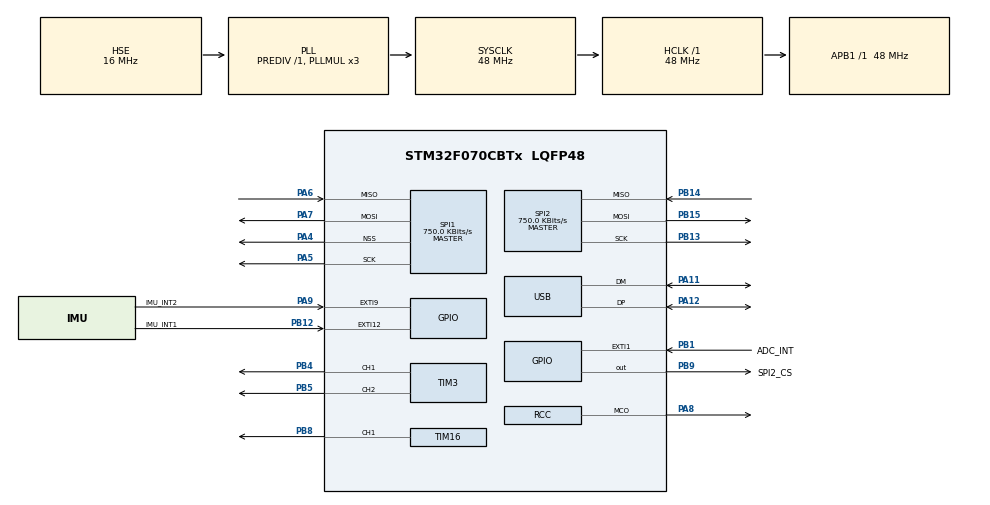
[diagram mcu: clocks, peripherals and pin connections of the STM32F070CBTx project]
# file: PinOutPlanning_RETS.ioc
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Mcu.Family=STM32F0
Mcu.Name=STM32F070CBTx
Mcu.Package=LQFP48
NVIC.EXTI0_1_IRQn=true\:0\:0\:false\:false\:true\:true\:true\:true
NVIC.EXTI4_15_IRQn=true\:0\:0\:false\:false\:true\:true\:true\:true
NVIC.USB_IRQn=true\:0\:0\:false\:false\:true\:false\:true\:true
PA11.Mode=Device
PA11.Signal=USB_DM
PA12.Mode=Device
PA12.Signal=USB_DP
PA13.Mode=Serial_Wire
PA13.Signal=SYS_SWDIO
PA14.Mode=Serial_Wire
PA14.Signal=SYS_SWCLK
PA4.Mode=NSS_Signal_Hard_Output
PA4.Signal=SPI1_NSS
PA5.Mode=Full_Duplex_Master
PA5.Signal=SPI1_SCK
PA6.Mode=Full_Duplex_Master
PA6.Signal=SPI1_MISO
PA7.Mode=Full_Duplex_Master
PA7.Signal=SPI1_MOSI
PA8.Mode=Clock-out
PA8.Signal=RCC_MCO
PA9.GPIO_Label=IMU_INT2
PA9.Signal=GPXTI9
PB1.GPIO_Label=ADC_INT
PB1.Signal=GPXTI1
PB12.GPIO_Label=IMU_INT1
PB12.Signal=GPXTI12
PB13.Mode=Full_Duplex_Master
PB13.Signal=SPI2_SCK
PB14.Mode=Full_Duplex_Master
PB14.Signal=SPI2_MISO
PB15.Mode=Full_Duplex_Master
PB15.Signal=SPI2_MOSI
PB4.Signal=S_TIM3_CH1
PB5.Signal=S_TIM3_CH2
PB8.Signal=S_TIM16_CH1
PB9.GPIO_Label=SPI2_CS
PB9.Signal=GPIO_Output
PF0-OSC_IN.Mode=HSE-External-Oscillator
PF0-OSC_IN.Signal=RCC_OSC_IN
PF1-OSC_OUT.Mode=HSE-External-Oscillator
PF1-OSC_OUT.Signal=RCC_OSC_OUT
ProjectManager.HeapSize=0x200
ProjectManager.StackSize=0x400
ProjectManager.TargetToolchain=STM32CubeIDE
RCC.AHBFreq_Value=48000000
RCC.APB1Freq_Value=48000000
RCC.APB1TimFreq_Value=48000000
RCC.HCLKFreq_Value=48000000
RCC.HSE_VALUE=16000000
RCC.PLLMUL=RCC_PLL_MUL3
RCC.RCC_MCODiv=RCC_MCODIV_2
RCC.RCC_MCOSource=RCC_MCO1SOURCE_HSE
RCC.SYSCLKFreq_VALUE=48000000
RCC.SYSCLKSource=RCC_SYSCLKSOURCE_PLLCLK
SH.S_TIM16_CH1.0=TIM16_CH1,PWM Generation1 CH1
SH.S_TIM3_CH1.0=TIM3_CH1,PWM Generation1 CH1
SH.S_TIM3_CH2.0=TIM3_CH2,PWM Generation2 CH2
SPI1.BaudRatePrescaler=SPI_BAUDRATEPRESCALER_64
SPI1.CLKPhase=SPI_PHASE_2EDGE
SPI1.CLKPolarity=SPI_POLARITY_LOW
SPI1.CalculateBaudRate=750.0 KBits/s
SPI1.DataSize=SPI_DATASIZE_8BIT
SPI1.Direction=SPI_DIRECTION_2LINES
SPI1.Mode=SPI_MODE_MASTER
SPI1.TIMode=SPI_TIMODE_DISABLE
SPI1.VirtualNSS=VM_NSSHARD
SPI1.VirtualType=VM_MASTER
SPI2.BaudRatePrescaler=SPI_BAUDRATEPRESCALER_64
SPI2.CalculateBaudRate=750.0 KBits/s
SPI2.DataSize=SPI_DATASIZE_8BIT
SPI2.Direction=SPI_DIRECTION_2LINES
SPI2.Mode=SPI_MODE_MASTER
SPI2.NSSPMode=SPI_NSS_PULSE_DISABLE
SPI2.VirtualType=VM_MASTER
TIM16.Channel=TIM_CHANNEL_1
TIM3.Channel-PWM\ Generation1\ CH1=TIM_CHANNEL_1
TIM3.Channel-PWM\ Generation2\ CH2=TIM_CHANNEL_2
USB.lpm_enable=DISABLE
USB_DEVICE.CLASS_NAME_FS=CDC
USB_DEVICE.VirtualMode=Cdc
USB_DEVICE.VirtualModeFS=Cdc_FS
VP_TIM16_VS_ClockSourceINT.Mode=Enable_Timer
VP_USB_DEVICE_VS_USB_DEVICE_CDC_FS.Mode=CDC_FS
board=custom

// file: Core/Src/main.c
/* USER CODE BEGIN Header */
/**
  ******************************************************************************
  * @file           : main.c
  * @brief          : Main program body
  ******************************************************************************
  * @attention
  *
  * Copyright (c) 2023 STMicroelectronics.
  * All rights reserved.
  *
  * This software is licensed under terms that can be found in the LICENSE file
  * in the root directory of this software component.
  * If no LICENSE file comes with this software, it is provided AS-IS.
  *
  ******************************************************************************
  */
/* USER CODE END Header */
#include <stdio.h>
#include <stdarg.h>
#include "main.h"
#include "usb_device.h"

/* USER CODE BEGIN Includes */
#include "user_define.h"
#include "usbd_cdc_if.h"
#include "bmi323.h"
#include "ads131m02.h"
/* USER CODE END Includes */

SPI_HandleTypeDef hspi1;
SPI_HandleTypeDef hspi2;

TIM_HandleTypeDef htim3;
TIM_HandleTypeDef htim16;

void SystemClock_Config(void);
static void MX_GPIO_Init(void);
static void MX_SPI1_Init(void);
static void MX_SPI2_Init(void);
static void MX_TIM3_Init(void);
static void MX_TIM16_Init(void);
/* USER CODE BEGIN PFP */
static void CDC_TX_Buffer_Init(void);
/* USER CODE END PFP */

int main(void)
{

	/* MCU Configuration--------------------------------------------------------*/

	/* Reset of all peripherals, Initializes the Flash interface and the Systick. */
	HAL_Init();

	/* Configure the system clock */
	SystemClock_Config();

	/* Initialize all configured peripherals */
	MX_GPIO_Init();
	MX_SPI1_Init();
	MX_SPI2_Init();
	MX_TIM3_Init();
	MX_TIM16_Init();
	MX_USB_DEVICE_Init();
	/* USER CODE BEGIN 2 */
	CDC_TX_Buffer_Init(); // Put this in USER CODE BEGIN Init ? TODO TODO TODO

	HAL_Delay(1000);

	Init_BMI323();
	ADS131M02_echocore_init();

	HAL_Delay(1000);

	PDEBUG("Enabling interrupts...\r\n");
	HAL_NVIC_SetPriority(ADC_INT_EXTI_IRQn, 1, 0);
  	HAL_NVIC_EnableIRQ(ADC_INT_EXTI_IRQn);

	TIM3->CCR1 = 0;
	TIM3->CCR2 = 0;
	TIM16->CCR1 = 0;
	//HAL_TIM_PWM_Start(&htim3, TIM_CHANNEL_1);
	HAL_TIM_PWM_Start(&htim3, TIM_CHANNEL_2);

	PDEBUG("Beginning task loop...\r\n");

	/* USER CODE END 2 */

	/* Infinite loop */
	while (1)
	{

		/* USER CODE BEGIN 3 */

		/* Check for received data and interpret */
		if(cdc_int_flag)
		{
			// Interpret UserRxBufferFS based on RX data format

			/* DEBUG */
			PDEBUG("Printing all registers of IMU...\r\n");
			BMI323_Print_ALLRegs();

			/* Reset CDC RX interrupt flag */
			cdc_int_flag = 0;
		}

		/* Update ADC Values */
		ADS131M02_task();

		/* Update IMU Values */
		BMI323Task();

		/* Transmit new packet */
		CDC_Transmit_FS(UserTxBufferFS, APP_TX_DATA_SIZE);
		//HAL_Delay(10000);

		/* Control RGB LEDs based on IMU acceleration */
		// Can use data from UserTxBuffer for this (probably should use mutex tho in case of interrupts)
		// LEDTask();

		/* Testing */
		//CDC_Transmit_FS(UserTxBufferFS, APP_TX_DATA_SIZE);
		//HAL_Delay(10000);
		///uint8_t hi_msg[] = "hello\r\n";
		//CDC_Transmit_FS(hi_msg, sizeof(hi_msg));
		//HAL_Delay(500);
	}
	/* USER CODE END 3 */
}

void SystemClock_Config(void)
{
  RCC_OscInitTypeDef RCC_OscInitStruct = {0};
  RCC_ClkInitTypeDef RCC_ClkInitStruct = {0};
  RCC_PeriphCLKInitTypeDef PeriphClkInit = {0};

  /** Initializes the RCC Oscillators according to the specified parameters
  * in the RCC_OscInitTypeDef structure.
  */
  RCC_OscInitStruct.OscillatorType = RCC_OSCILLATORTYPE_HSE;
  RCC_OscInitStruct.HSEState = RCC_HSE_ON;
  RCC_OscInitStruct.PLL.PLLState = RCC_PLL_ON;
  RCC_OscInitStruct.PLL.PLLSource = RCC_PLLSOURCE_HSE;
  RCC_OscInitStruct.PLL.PLLMUL = RCC_PLL_MUL3;
  RCC_OscInitStruct.PLL.PREDIV = RCC_PREDIV_DIV1;
  if (HAL_RCC_OscConfig(&RCC_OscInitStruct) != HAL_OK)
  {
    Error_Handler();
  }

  /** Initializes the CPU, AHB and APB buses clocks
  */
  RCC_ClkInitStruct.ClockType = RCC_CLOCKTYPE_HCLK|RCC_CLOCKTYPE_SYSCLK
                              |RCC_CLOCKTYPE_PCLK1;
  RCC_ClkInitStruct.SYSCLKSource = RCC_SYSCLKSOURCE_PLLCLK;
  RCC_ClkInitStruct.AHBCLKDivider = RCC_SYSCLK_DIV1;
  RCC_ClkInitStruct.APB1CLKDivider = RCC_HCLK_DIV1;

  if (HAL_RCC_ClockConfig(&RCC_ClkInitStruct, FLASH_LATENCY_1) != HAL_OK)
  {
    Error_Handler();
  }
  PeriphClkInit.PeriphClockSelection = RCC_PERIPHCLK_USB;
  PeriphClkInit.UsbClockSelection = RCC_USBCLKSOURCE_PLL;

  if (HAL_RCCEx_PeriphCLKConfig(&PeriphClkInit) != HAL_OK)
  {
    Error_Handler();
  }
  HAL_RCC_MCOConfig(RCC_MCO, RCC_MCO1SOURCE_HSE, RCC_MCODIV_2);
}

static void MX_SPI1_Init(void)
{

  /* SPI1 parameter configuration*/
  hspi1.Instance = SPI1;
  hspi1.Init.Mode = SPI_MODE_MASTER;
  hspi1.Init.Direction = SPI_DIRECTION_2LINES;
  hspi1.Init.DataSize = SPI_DATASIZE_8BIT;
  hspi1.Init.CLKPolarity = SPI_POLARITY_LOW;
  hspi1.Init.CLKPhase = SPI_PHASE_2EDGE;
  hspi1.Init.NSS = SPI_NSS_HARD_OUTPUT;
  hspi1.Init.BaudRatePrescaler = SPI_BAUDRATEPRESCALER_64;
  hspi1.Init.FirstBit = SPI_FIRSTBIT_MSB;
  hspi1.Init.TIMode = SPI_TIMODE_DISABLE;
  hspi1.Init.CRCCalculation = SPI_CRCCALCULATION_DISABLE;
  hspi1.Init.CRCPolynomial = 7;
  hspi1.Init.CRCLength = SPI_CRC_LENGTH_DATASIZE;
  hspi1.Init.NSSPMode = SPI_NSS_PULSE_DISABLE;
  if (HAL_SPI_Init(&hspi1) != HAL_OK)
  {
    Error_Handler();
  }

}

static void MX_SPI2_Init(void)
{

  /* SPI2 parameter configuration*/
  hspi2.Instance = SPI2;
  hspi2.Init.Mode = SPI_MODE_MASTER;
  hspi2.Init.Direction = SPI_DIRECTION_2LINES;
  hspi2.Init.DataSize = SPI_DATASIZE_8BIT;
  hspi2.Init.CLKPolarity = SPI_POLARITY_LOW;
  hspi2.Init.CLKPhase = SPI_PHASE_1EDGE;
  hspi2.Init.NSS = SPI_NSS_SOFT;
  hspi2.Init.BaudRatePrescaler = SPI_BAUDRATEPRESCALER_64;
  hspi2.Init.FirstBit = SPI_FIRSTBIT_MSB;
  hspi2.Init.TIMode = SPI_TIMODE_DISABLE;
  hspi2.Init.CRCCalculation = SPI_CRCCALCULATION_DISABLE;
  hspi2.Init.CRCPolynomial = 7;
  hspi2.Init.CRCLength = SPI_CRC_LENGTH_DATASIZE;
  hspi2.Init.NSSPMode = SPI_NSS_PULSE_DISABLE;
  if (HAL_SPI_Init(&hspi2) != HAL_OK)
  {
    Error_Handler();
  }

}

static void MX_TIM3_Init(void)
{

  TIM_MasterConfigTypeDef sMasterConfig = {0};
  TIM_OC_InitTypeDef sConfigOC = {0};

  htim3.Instance = TIM3;
  htim3.Init.Prescaler = 0;
  htim3.Init.CounterMode = TIM_COUNTERMODE_UP;
  htim3.Init.Period = 65535;
  htim3.Init.ClockDivision = TIM_CLOCKDIVISION_DIV1;
  htim3.Init.AutoReloadPreload = TIM_AUTORELOAD_PRELOAD_DISABLE;
  if (HAL_TIM_PWM_Init(&htim3) != HAL_OK)
  {
    Error_Handler();
  }
  sMasterConfig.MasterOutputTrigger = TIM_TRGO_RESET;
  sMasterConfig.MasterSlaveMode = TIM_MASTERSLAVEMODE_DISABLE;
  if (HAL_TIMEx_MasterConfigSynchronization(&htim3, &sMasterConfig) != HAL_OK)
  {
    Error_Handler();
  }
  sConfigOC.OCMode = TIM_OCMODE_PWM1;
  sConfigOC.Pulse = 0;
  sConfigOC.OCPolarity = TIM_OCPOLARITY_HIGH;
  sConfigOC.OCFastMode = TIM_OCFAST_DISABLE;
  if (HAL_TIM_PWM_ConfigChannel(&htim3, &sConfigOC, TIM_CHANNEL_1) != HAL_OK)
  {
    Error_Handler();
  }
  if (HAL_TIM_PWM_ConfigChannel(&htim3, &sConfigOC, TIM_CHANNEL_2) != HAL_OK)
  {
    Error_Handler();
  }
  HAL_TIM_MspPostInit(&htim3);

}

static void MX_TIM16_Init(void)
{

  TIM_OC_InitTypeDef sConfigOC = {0};
  TIM_BreakDeadTimeConfigTypeDef sBreakDeadTimeConfig = {0};

  htim16.Instance = TIM16;
  htim16.Init.Prescaler = 0;
  htim16.Init.CounterMode = TIM_COUNTERMODE_UP;
  htim16.Init.Period = 65535;
  htim16.Init.ClockDivision = TIM_CLOCKDIVISION_DIV1;
  htim16.Init.RepetitionCounter = 0;
  htim16.Init.AutoReloadPreload = TIM_AUTORELOAD_PRELOAD_DISABLE;
  if (HAL_TIM_Base_Init(&htim16) != HAL_OK)
  {
    Error_Handler();
  }
  if (HAL_TIM_PWM_Init(&htim16) != HAL_OK)
  {
    Error_Handler();
  }
  sConfigOC.OCMode = TIM_OCMODE_PWM1;
  sConfigOC.Pulse = 0;
  sConfigOC.OCPolarity = TIM_OCPOLARITY_HIGH;
  sConfigOC.OCNPolarity = TIM_OCNPOLARITY_HIGH;
  sConfigOC.OCFastMode = TIM_OCFAST_DISABLE;
  sConfigOC.OCIdleState = TIM_OCIDLESTATE_RESET;
  sConfigOC.OCNIdleState = TIM_OCNIDLESTATE_RESET;
  if (HAL_TIM_PWM_ConfigChannel(&htim16, &sConfigOC, TIM_CHANNEL_1) != HAL_OK)
  {
    Error_Handler();
  }
  sBreakDeadTimeConfig.OffStateRunMode = TIM_OSSR_DISABLE;
  sBreakDeadTimeConfig.OffStateIDLEMode = TIM_OSSI_DISABLE;
  sBreakDeadTimeConfig.LockLevel = TIM_LOCKLEVEL_OFF;
  sBreakDeadTimeConfig.DeadTime = 0;
  sBreakDeadTimeConfig.BreakState = TIM_BREAK_DISABLE;
  sBreakDeadTimeConfig.BreakPolarity = TIM_BREAKPOLARITY_HIGH;
  sBreakDeadTimeConfig.AutomaticOutput = TIM_AUTOMATICOUTPUT_DISABLE;
  if (HAL_TIMEx_ConfigBreakDeadTime(&htim16, &sBreakDeadTimeConfig) != HAL_OK)
  {
    Error_Handler();
  }
  HAL_TIM_MspPostInit(&htim16);

}

static void MX_GPIO_Init(void)
{
	GPIO_InitTypeDef GPIO_InitStruct = {0};

	/* GPIO Ports Clock Enable */
	__HAL_RCC_GPIOF_CLK_ENABLE();
	__HAL_RCC_GPIOA_CLK_ENABLE();
	__HAL_RCC_GPIOB_CLK_ENABLE();

	/*Configure GPIO pin Output Level */
	HAL_GPIO_WritePin(SPI2_CS_GPIO_Port, SPI2_CS_Pin, GPIO_PIN_SET);

	/*Configure GPIO pins : ADC_INT_Pin IMU_INT1_Pin */
	GPIO_InitStruct.Pin = ADC_INT_Pin|IMU_INT1_Pin;
	GPIO_InitStruct.Mode = GPIO_MODE_IT_FALLING;
	GPIO_InitStruct.Pull = GPIO_NOPULL;
	HAL_GPIO_Init(GPIOB, &GPIO_InitStruct);

	/*Configure GPIO pin : PA8 */
	GPIO_InitStruct.Pin = GPIO_PIN_8;
	GPIO_InitStruct.Mode = GPIO_MODE_AF_PP;
	GPIO_InitStruct.Pull = GPIO_NOPULL;
	GPIO_InitStruct.Speed = GPIO_SPEED_FREQ_LOW;
	GPIO_InitStruct.Alternate = GPIO_AF0_MCO;
	HAL_GPIO_Init(GPIOA, &GPIO_InitStruct);

	/*Configure GPIO pin : IMU_INT2_Pin */
	GPIO_InitStruct.Pin = IMU_INT2_Pin;
	GPIO_InitStruct.Mode = GPIO_MODE_IT_RISING;
	GPIO_InitStruct.Pull = GPIO_NOPULL;
	HAL_GPIO_Init(IMU_INT2_GPIO_Port, &GPIO_InitStruct);

	/*Configure GPIO pin : SPI2_CS_Pin */
	GPIO_InitStruct.Pin = SPI2_CS_Pin;
	GPIO_InitStruct.Mode = GPIO_MODE_OUTPUT_PP;
	GPIO_InitStruct.Pull = GPIO_NOPULL;
	GPIO_InitStruct.Speed = GPIO_SPEED_FREQ_LOW;
	HAL_GPIO_Init(SPI2_CS_GPIO_Port, &GPIO_InitStruct);

	/* Tell the IMU we are communicating over SPI 4-wire */
	HAL_GPIO_WritePin(SPI2_CS_GPIO_Port, SPI2_CS_Pin, GPIO_PIN_RESET);
	HAL_Delay(50);
	HAL_GPIO_WritePin(SPI2_CS_GPIO_Port, SPI2_CS_Pin, GPIO_PIN_SET);
	HAL_Delay(10);

	/* EXTI interrupt init*/
	/*
	* IMU interrupts handled in peripheral code
	HAL_NVIC_SetPriority(EXTI0_1_IRQn, 0, 0);
	HAL_NVIC_EnableIRQ(EXTI0_1_IRQn);

	HAL_NVIC_SetPriority(EXTI4_15_IRQn, 0, 0);
	HAL_NVIC_EnableIRQ(EXTI4_15_IRQn);
	*/

}

/* USER CODE BEGIN 4 */
static void CDC_TX_Buffer_Init(void)
{
	uint16_t version	= 0x0101; // LSB first for memcpy
	uint32_t eeg_data_start = 0xAAAAAAAA; // LSB first for memcpy
	uint32_t imu_data_start = 0x55555555; // LSB first for memcpy

	// Reset to all 0x00
	memset(UserTxBufferFS, 0, sizeof(UserTxBufferFS));

	/* Initialize header and footer */
	UserTxBufferFS[0] = 0xAA;								// Frame Start
	strcpy((char *)&UserTxBufferFS[1], "GALAHAD LABS");		// Vendor
	strcpy((char *)&UserTxBufferFS[13], "ECHOCORE");		// Product
	memcpy(&UserTxBufferFS[21], &version, 2);				// HW/FW Version
	memcpy(&UserTxBufferFS[27], &eeg_data_start, 4);		// EEG Data Start
	/*
	 * EEG Data
	 */
	memcpy(&UserTxBufferFS[39], &imu_data_start, 4);		// IMU Data Start
	UserTxBufferFS[57] = 0x55;								// Frame End
}

void HAL_GPIO_EXTI_Callback(uint16_t GPIO_Pin)
{
	if(GPIO_Pin == IMU_INT1_Pin) // PB12
	{
		imu_int1_flag = 1;
		PDEBUG("INT1 Triggered\r\n");
		#if defined(FIFO_WM_INT)
			#if defined(USE_BMI323)
			bmi323_fifo_ready = 1;
			#endif
		#endif
	}
	else if(GPIO_Pin == IMU_INT2_Pin) // PA9
	{
		// Conflicts with SPI2 CSN...
		imu_int2_flag = 1;
		PDEBUG("INT2 Triggered\r\n");
	}
	else if(GPIO_Pin == ADC_INT_Pin)
	{
		adc_flag = 1;
		//PDEBUG("ADC INT Triggered\r\n");
	}
}

void PDEBUG(char *format, ...)
{
#if defined(DEBUG_EN)
	char chBuffer[512];
    va_list ap;
    va_start(ap, format);
    vsnprintf(chBuffer, sizeof(chBuffer), format, ap);
    CDC_Transmit_FS((uint8_t *)chBuffer, strlen(chBuffer));
    va_end(ap);
#endif
}
/* USER CODE END 4 */

void Error_Handler(void)
{
  __disable_irq();
  while (1)
  {
  }
}
